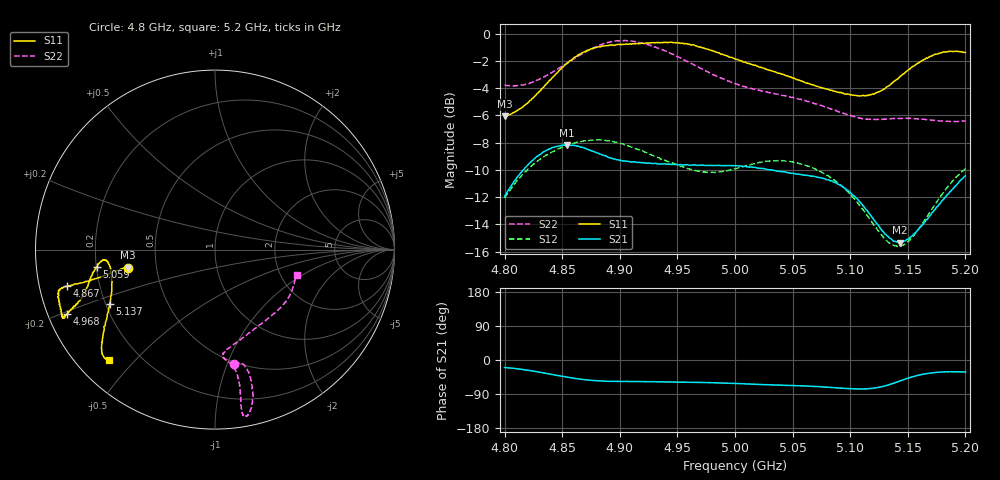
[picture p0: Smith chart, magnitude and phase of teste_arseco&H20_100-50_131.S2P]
! Network Analyzer HP8722D
! Hewlett-Packard
! Data name: Linha & Wilkinson
! Saver's name: Rodrigo Anjos
! Comments: Teste da utilização de aquisição
! continua pelo VNA HP8722D
! Time and date: 6/5/2025 13:39
!  Frequency  S11  S21  S12  S22
# HZ  S  MA R 50
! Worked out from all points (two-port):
!   401 points, 4.8 GHz to 5.2 GHz, reference 50 ohm
!   highest |S21| = -8.18 dB at 4.854 GHz (marker M1); lowest = -15.3 dB at 5.143 GHz (marker M2)
!   |S21| within 3 dB of the highest: 4.806 GHz to 5.092 GHz (286.7 MHz wide, 5.79 % of centre); 5.191392 GHz to end of sweep
!   lowest |S11| = -6.1 dB at 4.8 GHz (marker M3), VSWR 2.98, Z = 16.9 - j4.53 ohm
!   |S11| at or under -10 dB: nowhere
!   |S22| runs from -6.5 to -0.5 dB; largest |S21 - S12| = 0.62
!   S11 on the Smith chart (normalised r, x): 4.8 GHz: 0.34, -0.09; 4.867 GHz: 0.08, -0.12; 4.968 GHz: 0.06, -0.21; 5.059 GHz: 0.20, -0.07; 5.137 GHz: 0.21, -0.23; 5.2 GHz: 0.09, -0.42
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4.8e9  0.4978 -168.3  0.2531 -19.8  0.2496 -141.1  0.6479 -80.4
4.828e9  0.602 -167.2  0.3542 -31.0  0.3391 -145.1  0.6756 -75.5
4.854e9  0.7775 -166.1  0.3901 -45.3  0.3889 -150.1  0.7792 -74.8
4.867e9  0.8494 -166.1  0.3832 -51.1  0.4023 -152.3  0.843 -75.5
4.88e9  0.8906 -165.6  0.3657 -54.8  0.4078 -154.4  0.9 -76.8
4.899e9  0.9143 -163.2  0.3437 -56.7  0.3979 -156.9  0.943 -79.2
4.914e9  0.9192 -159.8  0.3373 -56.7  0.3778 -157.3  0.9358 -80.4
4.934e9  0.9297 -156.6  0.3325 -57.6  0.3503 -155.8  0.8817 -80.5
4.968e9  0.8959 -156.6  0.3288 -59.2  0.3133 -147.7  0.7545 -79.7
5e9  0.8079 -159.3  0.3272 -62.0  0.3194 -137.4  0.6563 -81.4
5.036e9  0.7211 -165.9  0.3131 -66.1  0.3419 -134.5  0.6004 -85.8
5.059e9  0.6669 -171.7  0.3032 -68.3  0.3313 -136.3  0.5716 -84.4
5.067e9  0.6503 -173.3  0.3002 -69.3  0.3227 -136.9  0.5574 -82.6
5.085e9  0.6169 -174.5  0.2864 -72.9  0.2928 -138.5  0.527 -75.7
5.101e9  0.5972 -172.0  0.2593 -75.9  0.2543 -138.9  0.5004 -66.4
5.117e9  0.5955 -164.9  0.2178 -75.7  0.2084 -135.0  0.4853 -55.1
5.134e9  0.6462 -154.4  0.1779 -65.0  0.1703 -120.5  0.4871 -43.3
5.137e9  0.6622 -152.6  0.1738 -62.0  0.1677 -116.7  0.4884 -41.5
5.143e9  0.6935 -149.4  0.1708 -55.6  0.1661 -108.7  0.4889 -37.9
5.154e9  0.7576 -144.6  0.1813 -44.4  0.1797 -95.0  0.4889 -32.2
5.174e9  0.8407 -138.7  0.2272 -32.9  0.237 -80.4  0.4802 -23.9
5.2e9  0.8529 -133.8  0.3007 -31.7  0.32 -77.1  0.4778 -17.5
